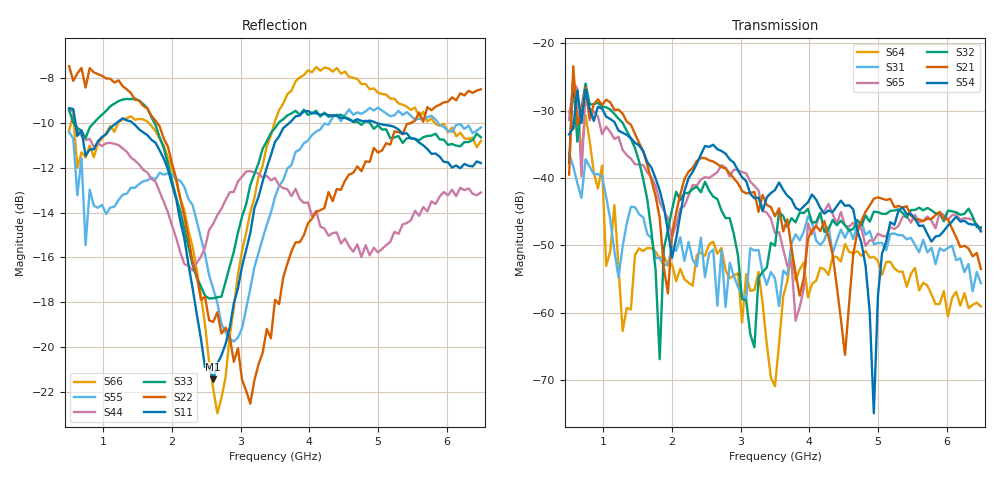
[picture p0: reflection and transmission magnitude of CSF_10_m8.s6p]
!Keysight Technologies,M9804A,MY58100912,A.14.10.03
!Date: Thursday, April 27, 2023 10:28:33
!Correction: S11(C  6-Port  )
!S12(C  6-Port  )
!S13(C  6-Port  )
!S14(C  6-Port  )
!S15(C  6-Port  )
!S16(C  6-Port  )
!S21(C  6-Port  )
!S22(C  6-Port  )
!S23(C  6-Port  )
!S24(C  6-Port  )
!S25(C  6-Port  )
!S26(C  6-Port  )
!S31(C  6-Port  )
!S32(C  6-Port  )
!S33(C  6-Port  )
!S34(C  6-Port  )
!S35(C  6-Port  )
!S36(C  6-Port  )
!S41(C  6-Port  )
!S42(C  6-Port  )
!S43(C  6-Port  )
!S44(C  6-Port  )
!S45(C  6-Port  )
!S46(C  6-Port  )
!S51(C  6-Port  )
!S52(C  6-Port  )
!S53(C  6-Port  )
!S54(C  6-Port  )
!S55(C  6-Port  )
!S56(C  6-Port  )
!S61(C  6-Port  )
!S62(C  6-Port  )
!S63(C  6-Port  )
!S64(C  6-Port  )
!S65(C  6-Port  )
!S66(C  6-Port  )
!S6P File: Measurement: :
# Hz S  RI  R 50
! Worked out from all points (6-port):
!   101 points, 500 MHz to 6.5 GHz, reference 50 ohm
!   strongest paths, dB at 500 MHz, 2 GHz, 3.5 GHz, 5 GHz, 6.5 GHz:
!     S54: -33.5, -51.8, -41.8, -57.5, -47.9
!     S21: -39.5, -48.3, -45.7, -42.9, -53.5
!     S32: -37.7, -44.7, -50.0, -45.1, -47.3
!     S65: -31.4, -48.8, -48.2, -48.2, -47.6
!     S31: -36.4, -50.4, -54.9, -49.6, -55.6
!     S64: -30.1, -52.8, -70.9, -52.3, -59.0
!   lowest |S11| = -21.4 dB at 2.6 GHz (marker M1), VSWR 1.19, Z = 42.5 + j2.17 ohm
!   |S11| at or under -10 dB: 590.3 MHz to 1.197 GHz (606.8 MHz wide, 67.9 % of centre); 1.421 GHz to 3.714 GHz (2.292 GHz wide, 89.3 % of centre); 4.969 GHz to end of sweep
